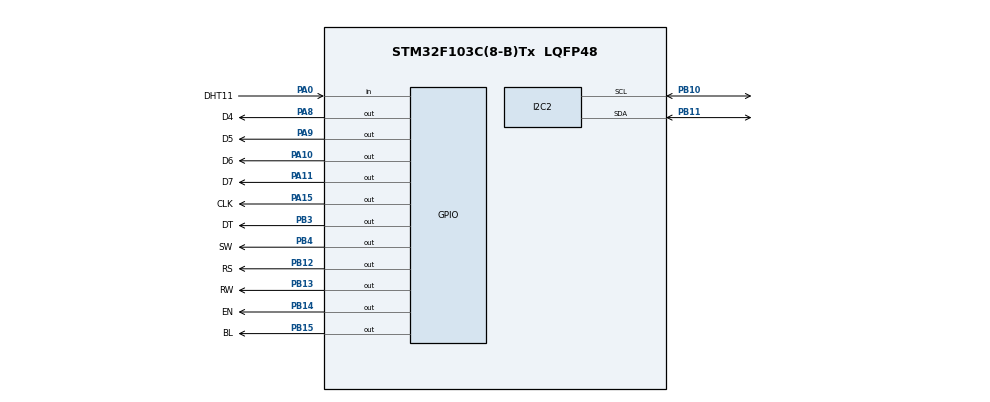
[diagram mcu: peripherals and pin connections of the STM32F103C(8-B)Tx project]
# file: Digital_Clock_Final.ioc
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Mcu.Family=STM32F1
Mcu.Name=STM32F103C(8-B)Tx
Mcu.Package=LQFP48
NVIC.PriorityGroup=NVIC_PRIORITYGROUP_4
PA0-WKUP.GPIO_Label=DHT11
PA0-WKUP.Signal=GPIO_Input
PA10.GPIO_Label=D6
PA10.Signal=GPIO_Output
PA11.GPIO_Label=D7
PA11.Signal=GPIO_Output
PA13.Mode=Serial_Wire
PA13.Signal=SYS_JTMS-SWDIO
PA14.Mode=Serial_Wire
PA14.Signal=SYS_JTCK-SWCLK
PA15.GPIO_Label=CLK
PA15.Signal=GPIO_Output
PA8.GPIO_Label=D4
PA8.Signal=GPIO_Output
PA9.GPIO_Label=D5
PA9.Signal=GPIO_Output
PB10.Mode=I2C
PB10.Signal=I2C2_SCL
PB11.Mode=I2C
PB11.Signal=I2C2_SDA
PB12.GPIO_Label=RS
PB12.Signal=GPIO_Output
PB13.GPIO_Label=RW
PB13.Signal=GPIO_Output
PB14.GPIO_Label=EN
PB14.Signal=GPIO_Output
PB15.GPIO_Label=BL
PB15.Signal=GPIO_Output
PB3.GPIO_Label=DT
PB3.Signal=GPIO_Output
PB4.GPIO_Label=SW
PB4.Signal=GPIO_Output
ProjectManager.HeapSize=0x200
ProjectManager.StackSize=0x400
ProjectManager.TargetToolchain=STM32CubeIDE
RCC.APB1Freq_Value=8000000
RCC.APB2Freq_Value=8000000
TIM1.Period=1000
TIM1.Prescaler=7
VP_TIM1_VS_ClockSourceINT.Mode=Internal
board=custom

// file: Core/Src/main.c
/* USER CODE BEGIN Header */
/**
  ******************************************************************************
  * @file           : main.c
  * @brief          : Main program body
  ******************************************************************************
  * @attention
  *
  * Copyright (c) 2023 STMicroelectronics.
  * All rights reserved.
  *
  * This software is licensed under terms that can be found in the LICENSE file
  * in the root directory of this software component.
  * If no LICENSE file comes with this software, it is provided AS-IS.
  *
  ******************************************************************************
  */
/* USER CODE END Header */
#include "main.h"

/* USER CODE BEGIN Includes */
#include "DELAY.h"
#include "LCD.h"
#include "DS1307.h"
#include "ROTARY_ENCODER.h"
#include "BUTTON.h"
#include "MENU.h"
#include "DISPLAY.h"
#include "DHT11.h"
/* USER CODE END Includes */

I2C_HandleTypeDef hi2c2;

TIM_HandleTypeDef htim1;

void SystemClock_Config(void);
static void MX_GPIO_Init(void);
static void MX_I2C2_Init(void);
static void MX_TIM1_Init(void);

/* USER CODE BEGIN 0 */
BUTTON_Typedef SW;
ROTARY_State RE;
TIME TIME_DS1307;
TIME TIME_Display;
OPTION OPTION_Choose;
OPTION OPTION_Point;
MODE DISPLAY;
DHT11_Typedef DHT;
/* USER CODE END 0 */

int main(void)
{

  /* MCU Configuration--------------------------------------------------------*/

  /* Reset of all peripherals, Initializes the Flash interface and the Systick. */
  HAL_Init();

  /* Configure the system clock */
  SystemClock_Config();

  /* Initialize all configured peripherals */
  MX_GPIO_Init();
  MX_I2C2_Init();
  MX_TIM1_Init();
  /* USER CODE BEGIN 2 */
  DELAY_Init(&htim1);
  LCD_Init();
  DS1307_Init(&hi2c2);
  DHT11_Init(&DHT, GPIOA, DHT11_Pin);
//  TIME_Init(&TIME_DS1307, 30, 32, 9, 5, 4, 2, 23);
//  DS1307_WriteTime(&TIME_DS1307);
  TIME_Init(&TIME_Display, 0, 0, 0, 0, 0, 0, 0);
  DS1307_ReadTime(&TIME_DS1307);

  DISPLAY.Current = CLOCK_DISPLAY;
  DISPLAY.Last = MAIN_MENU;
  OPTION_Point.Current = SET_TIME;
  /* USER CODE END 2 */

  /* Infinite loop */
  while (1)
  {

    /* USER CODE BEGIN 3 */
	BUTTON_Handle(&SW, GPIOB, SW_Pin, &DISPLAY, &OPTION_Choose, &OPTION_Point);
	ROTARY_ENCODER_Handle(&RE, &DISPLAY, &OPTION_Choose, &OPTION_Point, &TIME_DS1307);
	DISPLAY_Handle(&TIME_DS1307, &TIME_Display, &DISPLAY, &OPTION_Choose, &OPTION_Point);
	MENU_Handle(&DISPLAY, &OPTION_Choose, &TIME_DS1307, &TIME_Display, &DHT);
  }
  /* USER CODE END 3 */
}

void SystemClock_Config(void)
{
  RCC_OscInitTypeDef RCC_OscInitStruct = {0};
  RCC_ClkInitTypeDef RCC_ClkInitStruct = {0};

  /** Initializes the RCC Oscillators according to the specified parameters
  * in the RCC_OscInitTypeDef structure.
  */
  RCC_OscInitStruct.OscillatorType = RCC_OSCILLATORTYPE_HSI;
  RCC_OscInitStruct.HSIState = RCC_HSI_ON;
  RCC_OscInitStruct.HSICalibrationValue = RCC_HSICALIBRATION_DEFAULT;
  RCC_OscInitStruct.PLL.PLLState = RCC_PLL_NONE;
  if (HAL_RCC_OscConfig(&RCC_OscInitStruct) != HAL_OK)
  {
    Error_Handler();
  }

  /** Initializes the CPU, AHB and APB buses clocks
  */
  RCC_ClkInitStruct.ClockType = RCC_CLOCKTYPE_HCLK|RCC_CLOCKTYPE_SYSCLK
                              |RCC_CLOCKTYPE_PCLK1|RCC_CLOCKTYPE_PCLK2;
  RCC_ClkInitStruct.SYSCLKSource = RCC_SYSCLKSOURCE_HSI;
  RCC_ClkInitStruct.AHBCLKDivider = RCC_SYSCLK_DIV1;
  RCC_ClkInitStruct.APB1CLKDivider = RCC_HCLK_DIV1;
  RCC_ClkInitStruct.APB2CLKDivider = RCC_HCLK_DIV1;

  if (HAL_RCC_ClockConfig(&RCC_ClkInitStruct, FLASH_LATENCY_0) != HAL_OK)
  {
    Error_Handler();
  }
}

static void MX_I2C2_Init(void)
{

  hi2c2.Instance = I2C2;
  hi2c2.Init.ClockSpeed = 100000;
  hi2c2.Init.DutyCycle = I2C_DUTYCYCLE_2;
  hi2c2.Init.OwnAddress1 = 0;
  hi2c2.Init.AddressingMode = I2C_ADDRESSINGMODE_7BIT;
  hi2c2.Init.DualAddressMode = I2C_DUALADDRESS_DISABLE;
  hi2c2.Init.OwnAddress2 = 0;
  hi2c2.Init.GeneralCallMode = I2C_GENERALCALL_DISABLE;
  hi2c2.Init.NoStretchMode = I2C_NOSTRETCH_DISABLE;
  if (HAL_I2C_Init(&hi2c2) != HAL_OK)
  {
    Error_Handler();
  }

}

static void MX_TIM1_Init(void)
{

  TIM_ClockConfigTypeDef sClockSourceConfig = {0};
  TIM_MasterConfigTypeDef sMasterConfig = {0};

  htim1.Instance = TIM1;
  htim1.Init.Prescaler = 7;
  htim1.Init.CounterMode = TIM_COUNTERMODE_UP;
  htim1.Init.Period = 1000;
  htim1.Init.ClockDivision = TIM_CLOCKDIVISION_DIV1;
  htim1.Init.RepetitionCounter = 0;
  htim1.Init.AutoReloadPreload = TIM_AUTORELOAD_PRELOAD_DISABLE;
  if (HAL_TIM_Base_Init(&htim1) != HAL_OK)
  {
    Error_Handler();
  }
  sClockSourceConfig.ClockSource = TIM_CLOCKSOURCE_INTERNAL;
  if (HAL_TIM_ConfigClockSource(&htim1, &sClockSourceConfig) != HAL_OK)
  {
    Error_Handler();
  }
  sMasterConfig.MasterOutputTrigger = TIM_TRGO_RESET;
  sMasterConfig.MasterSlaveMode = TIM_MASTERSLAVEMODE_DISABLE;
  if (HAL_TIMEx_MasterConfigSynchronization(&htim1, &sMasterConfig) != HAL_OK)
  {
    Error_Handler();
  }

}

static void MX_GPIO_Init(void)
{
  GPIO_InitTypeDef GPIO_InitStruct = {0};

  /* GPIO Ports Clock Enable */
  __HAL_RCC_GPIOA_CLK_ENABLE();
  __HAL_RCC_GPIOB_CLK_ENABLE();

  /*Configure GPIO pin Output Level */
  HAL_GPIO_WritePin(GPIOB, RS_Pin|RW_Pin|EN_Pin|BL_Pin
                          |DT_Pin|SW_Pin, GPIO_PIN_RESET);

  /*Configure GPIO pin Output Level */
  HAL_GPIO_WritePin(GPIOA, D4_Pin|D5_Pin|D6_Pin|D7_Pin
                          |CLK_Pin, GPIO_PIN_RESET);

  /*Configure GPIO pin : DHT11_Pin */
  GPIO_InitStruct.Pin = DHT11_Pin;
  GPIO_InitStruct.Mode = GPIO_MODE_INPUT;
  GPIO_InitStruct.Pull = GPIO_NOPULL;
  HAL_GPIO_Init(DHT11_GPIO_Port, &GPIO_InitStruct);

  /*Configure GPIO pins : RS_Pin RW_Pin EN_Pin BL_Pin
                           DT_Pin SW_Pin */
  GPIO_InitStruct.Pin = RS_Pin|RW_Pin|EN_Pin|BL_Pin
                          |DT_Pin|SW_Pin;
  GPIO_InitStruct.Mode = GPIO_MODE_OUTPUT_PP;
  GPIO_InitStruct.Pull = GPIO_NOPULL;
  GPIO_InitStruct.Speed = GPIO_SPEED_FREQ_LOW;
  HAL_GPIO_Init(GPIOB, &GPIO_InitStruct);

  /*Configure GPIO pins : D4_Pin D5_Pin D6_Pin D7_Pin
                           CLK_Pin */
  GPIO_InitStruct.Pin = D4_Pin|D5_Pin|D6_Pin|D7_Pin
                          |CLK_Pin;
  GPIO_InitStruct.Mode = GPIO_MODE_OUTPUT_PP;
  GPIO_InitStruct.Pull = GPIO_NOPULL;
  GPIO_InitStruct.Speed = GPIO_SPEED_FREQ_LOW;
  HAL_GPIO_Init(GPIOA, &GPIO_InitStruct);

}

void Error_Handler(void)
{
  __disable_irq();
  while (1)
  {
  }
}
